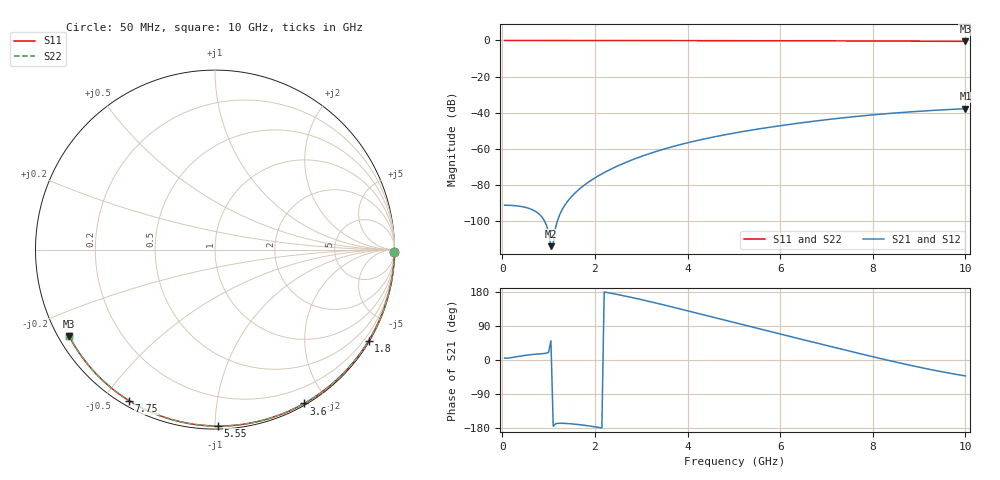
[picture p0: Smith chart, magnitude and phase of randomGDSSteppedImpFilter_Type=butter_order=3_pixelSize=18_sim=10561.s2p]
! freq	dB(S11)	phase(S11)	dB(S12)	phase(S12)
!  dB(S21)	phase(S21)	dB(S22)	phase(S22)
!S-par simulation data
#  GHz  S  DB  R 50
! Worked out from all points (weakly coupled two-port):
!   200 points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, 50 MHz to 10 GHz, reference 50 ohm
!   highest |S21| = -37.70 dB at 10 GHz (marker M1); lowest = -113.7 dB at 1.05 GHz (marker M2)
!   lowest |S11| = -0.5 dB at 10 GHz (marker M3), VSWR 35.20, Z = 1.53 - j13.7 ohm
!   |S11| at or under -10 dB: nowhere
!   |S22| runs from -0.5 to 0.0 dB; largest |S21 - S12| = 0
!   S11 on the Smith chart (normalised r, x): 50 MHz: open; 1.8 GHz: 0.03, -3.64; 3.6 GHz: 0.02, -1.74; 5.55 GHz: 0.02, -1.02; 7.75 GHz: 0.02, -0.58; 10 GHz: 0.03, -0.27
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0.05  -0.00 -0.9  -91.08 5.2  -91.08 5.2  -0.00 -0.9
0.55  -0.01 -9.5  -92.61 13.1  -92.61 13.1  -0.01 -9.5
1.05  -0.02 -18.1  -113.72 50.8  -113.72 50.8  -0.02 -18.1
1.75  -0.04 -29.9  -80.38 -171.9  -80.38 -171.9  -0.04 -29.9
1.8  -0.04 -30.7  -79.41 -172.7  -79.41 -172.7  -0.04 -30.7
1.95  -0.04 -33.2  -76.78 -175.4  -76.78 -175.4  -0.04 -33.2
2.1  -0.05 -35.7  -74.47 -178.4  -74.47 -178.4  -0.05 -35.7
2.3  -0.05 -39.0  -71.72 177.3  -71.72 177.3  -0.05 -39.0
2.5  -0.05 -42.3  -69.27 172.6  -69.27 172.6  -0.05 -42.3
2.9  -0.06 -48.8  -65.06 162.2  -65.06 162.2  -0.06 -48.8
3.4  -0.08 -56.7  -60.75 147.9  -60.75 147.9  -0.08 -56.7
3.6  -0.08 -59.9  -59.25 142.0  -59.25 142.0  -0.08 -59.9
3.9  -0.09 -64.5  -57.20 132.9  -57.20 132.9  -0.09 -64.5
4.3  -0.10 -70.7  -54.79 120.6  -54.79 120.6  -0.10 -70.7
5.05  -0.13 -81.9  -51.00 97.5  -51.00 97.5  -0.13 -81.9
5.55  -0.15 -89.1  -48.86 82.2  -48.86 82.2  -0.15 -89.1
6.1  -0.17 -96.9  -46.77 65.5  -46.77 65.5  -0.17 -96.9
6.7  -0.21 -105.3  -44.73 47.4  -44.73 47.4  -0.21 -105.3
7.75  -0.28 -119.6  -41.74 16.0  -41.74 16.0  -0.28 -119.6
8.35  -0.33 -127.6  -40.36 -1.4  -40.36 -1.4  -0.33 -127.6
9.2  -0.41 -138.8  -38.82 -24.0  -38.82 -24.0  -0.41 -138.8
10  -0.49 -149.4  -37.70 -42.0  -37.70 -42.0  -0.49 -149.4
